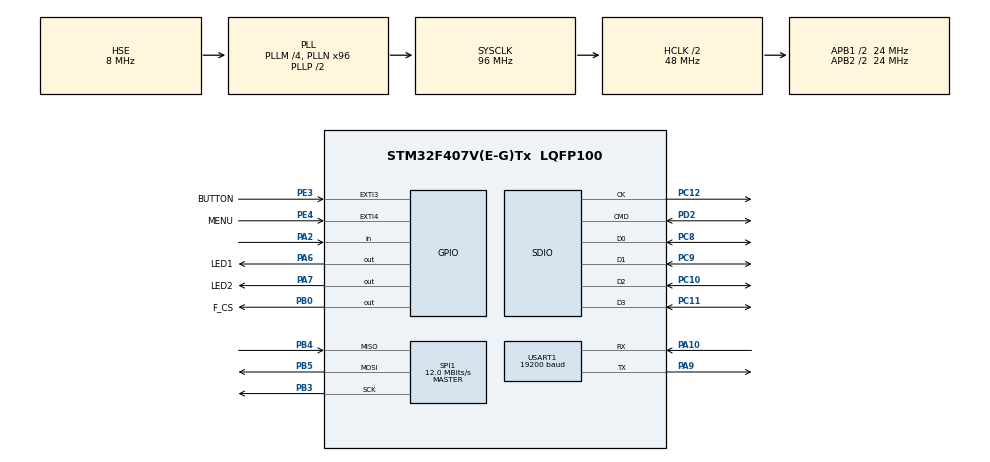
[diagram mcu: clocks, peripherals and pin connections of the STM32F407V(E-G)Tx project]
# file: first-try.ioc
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Dma.Request0=SPI1_RX
Dma.Request1=SPI1_TX
Dma.Request2=SDIO_RX
Dma.Request3=SDIO_TX
Dma.SDIO_RX.2.Direction=DMA_PERIPH_TO_MEMORY
Dma.SDIO_RX.2.FIFOMode=DMA_FIFOMODE_ENABLE
Dma.SDIO_RX.2.FIFOThreshold=DMA_FIFO_THRESHOLD_FULL
Dma.SDIO_RX.2.Instance=DMA2_Stream6
Dma.SDIO_RX.2.MemBurst=DMA_MBURST_INC4
Dma.SDIO_RX.2.MemDataAlignment=DMA_MDATAALIGN_WORD
Dma.SDIO_RX.2.MemInc=DMA_MINC_ENABLE
Dma.SDIO_RX.2.Mode=DMA_PFCTRL
Dma.SDIO_RX.2.PeriphBurst=DMA_PBURST_INC4
Dma.SDIO_RX.2.PeriphDataAlignment=DMA_PDATAALIGN_WORD
Dma.SDIO_RX.2.PeriphInc=DMA_PINC_DISABLE
Dma.SDIO_RX.2.Priority=DMA_PRIORITY_LOW
Dma.SDIO_TX.3.Direction=DMA_MEMORY_TO_PERIPH
Dma.SDIO_TX.3.FIFOMode=DMA_FIFOMODE_ENABLE
Dma.SDIO_TX.3.FIFOThreshold=DMA_FIFO_THRESHOLD_FULL
Dma.SDIO_TX.3.Instance=DMA2_Stream3
Dma.SDIO_TX.3.MemBurst=DMA_MBURST_INC4
Dma.SDIO_TX.3.MemDataAlignment=DMA_MDATAALIGN_WORD
Dma.SDIO_TX.3.MemInc=DMA_MINC_ENABLE
Dma.SDIO_TX.3.Mode=DMA_PFCTRL
Dma.SDIO_TX.3.PeriphBurst=DMA_PBURST_INC4
Dma.SDIO_TX.3.PeriphDataAlignment=DMA_PDATAALIGN_WORD
Dma.SDIO_TX.3.PeriphInc=DMA_PINC_DISABLE
Dma.SDIO_TX.3.Priority=DMA_PRIORITY_LOW
Dma.SPI1_RX.0.Direction=DMA_PERIPH_TO_MEMORY
Dma.SPI1_RX.0.FIFOMode=DMA_FIFOMODE_DISABLE
Dma.SPI1_RX.0.Instance=DMA2_Stream0
Dma.SPI1_RX.0.MemDataAlignment=DMA_MDATAALIGN_BYTE
Dma.SPI1_RX.0.MemInc=DMA_MINC_ENABLE
Dma.SPI1_RX.0.Mode=DMA_NORMAL
Dma.SPI1_RX.0.PeriphDataAlignment=DMA_PDATAALIGN_BYTE
Dma.SPI1_RX.0.PeriphInc=DMA_PINC_DISABLE
Dma.SPI1_RX.0.Priority=DMA_PRIORITY_LOW
Dma.SPI1_TX.1.Direction=DMA_MEMORY_TO_PERIPH
Dma.SPI1_TX.1.FIFOMode=DMA_FIFOMODE_DISABLE
Dma.SPI1_TX.1.Instance=DMA2_Stream5
Dma.SPI1_TX.1.MemDataAlignment=DMA_MDATAALIGN_BYTE
Dma.SPI1_TX.1.MemInc=DMA_MINC_ENABLE
Dma.SPI1_TX.1.Mode=DMA_NORMAL
Dma.SPI1_TX.1.PeriphDataAlignment=DMA_PDATAALIGN_BYTE
Dma.SPI1_TX.1.PeriphInc=DMA_PINC_DISABLE
Dma.SPI1_TX.1.Priority=DMA_PRIORITY_LOW
FATFS.BSP.number=1
FATFS.USE_DMA_CODE_SD=1
FATFS0.BSP.STBoard=false
FATFS0.BSP.api=Unknown
FATFS0.BSP.instance=PA2
FATFS0.BSP.ip=GPIO
FATFS0.BSP.mode=Input
FATFS0.BSP.name=Detect_SDIO
FATFS0.BSP.solution=PA2
Mcu.Family=STM32F4
Mcu.Name=STM32F407V(E-G)Tx
Mcu.Package=LQFP100
NVIC.DMA2_Stream0_IRQn=true\:0\:0\:false\:false\:true\:false\:true\:true
NVIC.DMA2_Stream3_IRQn=true\:0\:0\:false\:false\:true\:false\:true\:true
NVIC.DMA2_Stream5_IRQn=true\:0\:0\:false\:false\:true\:false\:true\:true
NVIC.DMA2_Stream6_IRQn=true\:0\:0\:false\:false\:true\:false\:true\:true
NVIC.EXTI3_IRQn=true\:0\:0\:false\:false\:true\:true\:true\:true
NVIC.EXTI4_IRQn=true\:0\:0\:false\:false\:true\:true\:true\:true
NVIC.PriorityGroup=NVIC_PRIORITYGROUP_4
NVIC.SDIO_IRQn=true\:0\:0\:false\:false\:true\:true\:true\:true
NVIC.TIM1_UP_TIM10_IRQn=true\:0\:0\:false\:false\:true\:true\:true\:true
NVIC.USART1_IRQn=true\:0\:0\:false\:false\:true\:true\:true\:true
PA10.Mode=Asynchronous
PA10.Signal=USART1_RX
PA13.Mode=Serial_Wire
PA13.Signal=SYS_JTMS-SWDIO
PA14.Mode=Serial_Wire
PA14.Signal=SYS_JTCK-SWCLK
PA2.GPIO_PuPd=GPIO_PULLDOWN
PA2.Signal=GPIO_Input
PA6.GPIO_Label=LED1
PA6.Signal=GPIO_Output
PA7.GPIO_Label=LED2
PA7.Signal=GPIO_Output
PA9.Mode=Asynchronous
PA9.Signal=USART1_TX
PB0.GPIO_Label=F_CS
PB0.GPIO_PuPd=GPIO_NOPULL
PB0.Signal=GPIO_Output
PB3.Mode=Full_Duplex_Master
PB3.Signal=SPI1_SCK
PB4.Mode=Full_Duplex_Master
PB4.Signal=SPI1_MISO
PB5.Mode=Full_Duplex_Master
PB5.Signal=SPI1_MOSI
PC10.Mode=SD_4_bits_Wide_bus
PC10.Signal=SDIO_D2
PC11.Mode=SD_4_bits_Wide_bus
PC11.Signal=SDIO_D3
PC12.Mode=SD_4_bits_Wide_bus
PC12.Signal=SDIO_CK
PC14-OSC32_IN.Mode=LSE-External-Oscillator
PC14-OSC32_IN.Signal=RCC_OSC32_IN
PC15-OSC32_OUT.Mode=LSE-External-Oscillator
PC15-OSC32_OUT.Signal=RCC_OSC32_OUT
PC8.Mode=SD_4_bits_Wide_bus
PC8.Signal=SDIO_D0
PC9.GPIO_PuPd=GPIO_PULLUP
PC9.Mode=SD_4_bits_Wide_bus
PC9.Signal=SDIO_D1
PD2.Mode=SD_4_bits_Wide_bus
PD2.Signal=SDIO_CMD
PE3.GPIO_Label=BUTTON
PE3.GPIO_ModeDefaultEXTI=GPIO_MODE_IT_FALLING
PE3.GPIO_PuPd=GPIO_PULLUP
PE3.Signal=GPXTI3
PE4.GPIO_Label=MENU
PE4.GPIO_PuPd=GPIO_PULLUP
PE4.Signal=GPXTI4
PH0-OSC_IN.Mode=HSE-External-Oscillator
PH0-OSC_IN.Signal=RCC_OSC_IN
PH1-OSC_OUT.Mode=HSE-External-Oscillator
PH1-OSC_OUT.Signal=RCC_OSC_OUT
ProjectManager.HeapSize=0x200
ProjectManager.StackSize=0x400
ProjectManager.TargetToolchain=STM32CubeIDE
RCC.48MHZClocksFreq_Value=48000000
RCC.AHBCLKDivider=RCC_SYSCLK_DIV2
RCC.AHBFreq_Value=48000000
RCC.APB1CLKDivider=RCC_HCLK_DIV2
RCC.APB1Freq_Value=24000000
RCC.APB1TimFreq_Value=48000000
RCC.APB2CLKDivider=RCC_HCLK_DIV2
RCC.APB2Freq_Value=24000000
RCC.APB2TimFreq_Value=48000000
RCC.CortexFreq_Value=48000000
RCC.HCLKFreq_Value=48000000
RCC.HSE_VALUE=8000000
RCC.HSI_VALUE=16000000
RCC.PLLM=4
RCC.PLLN=96
RCC.PLLSourceVirtual=RCC_PLLSOURCE_HSE
RCC.RCC_RTC_Clock_Source=RCC_RTCCLKSOURCE_LSE
RCC.RCC_RTC_Clock_SourceVirtual=RCC_RTCCLKSOURCE_LSE
RCC.SYSCLKFreq_VALUE=96000000
RCC.SYSCLKSource=RCC_SYSCLKSOURCE_PLLCLK
RCC.VCOOutputFreq_Value=192000000
RTC.Date=19
RTC.Hours=16
RTC.Minutes=49
RTC.Month=RTC_MONTH_FEBRUARY
RTC.WeekDay=RTC_WEEKDAY_SUNDAY
RTC.Year=23
SDIO.ClockDiv=255
SPI1.CalculateBaudRate=12.0 MBits/s
SPI1.Direction=SPI_DIRECTION_2LINES
SPI1.Mode=SPI_MODE_MASTER
SPI1.VirtualType=VM_MASTER
TIM1.Period=5000
TIM1.Prescaler=100
USART1.BaudRate=19200
USART1.VirtualMode=VM_ASYNC
VP_FATFS_VS_SDIO.Mode=SDIO
VP_RTC_VS_RTC_Activate.Mode=RTC_Enabled
VP_RTC_VS_RTC_Calendar.Mode=RTC_Calendar
VP_TIM1_VS_ClockSourceINT.Mode=Internal
board=custom

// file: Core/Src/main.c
/* USER CODE BEGIN Header */
/**
 ******************************************************************************
 * @file           : main.c
 * @brief          : Main program body
 ******************************************************************************
 * @attention
 *
 * Copyright (c) 2023 STMicroelectronics.
 * All rights reserved.
 *
 * This software is licensed under terms that can be found in the LICENSE file
 * in the root directory of this software component.
 * If no LICENSE file comes with this software, it is provided AS-IS.
 *
 ******************************************************************************
 */
/* USER CODE END Header */
#include "main.h"
#include "fatfs.h"

/* USER CODE BEGIN Includes */
#include <stdio.h>
#include <string.h>
#include <stdlib.h>
#include <time.h>
/* USER CODE END Includes */

RTC_HandleTypeDef hrtc;

SD_HandleTypeDef hsd;
DMA_HandleTypeDef hdma_sdio_rx;
DMA_HandleTypeDef hdma_sdio_tx;

SPI_HandleTypeDef hspi1;
DMA_HandleTypeDef hdma_spi1_rx;
DMA_HandleTypeDef hdma_spi1_tx;

TIM_HandleTypeDef htim1;

UART_HandleTypeDef huart1;

/* USER CODE BEGIN PV */
uint8_t Rx_data[1];

uint32_t read = 0;
uint32_t command = 0;

RTC_TimeTypeDef sTime = {0};
RTC_DateTypeDef sDate = {0};

/* USER CODE END PV */

void SystemClock_Config(void);
static void MX_GPIO_Init(void);
static void MX_DMA_Init(void);
static void MX_USART1_UART_Init(void);
static void MX_TIM1_Init(void);
static void MX_RTC_Init(void);
static void MX_SPI1_Init(void);
static void MX_SDIO_SD_Init(void);
/* USER CODE BEGIN PFP */
void read_from_address(uint32_t);
/* USER CODE END PFP */

int main(void)
{

  /* MCU Configuration--------------------------------------------------------*/

  /* Reset of all peripherals, Initializes the Flash interface and the Systick. */
  HAL_Init();

  /* Configure the system clock */
  SystemClock_Config();

  /* Initialize all configured peripherals */
  MX_GPIO_Init();
  MX_DMA_Init();
  MX_USART1_UART_Init();
  MX_TIM1_Init();
  MX_RTC_Init();
  MX_SPI1_Init();
  MX_SDIO_SD_Init();
  MX_FATFS_Init();
  /* USER CODE BEGIN 2 */

	int step = 10;

  /* USER CODE END 2 */

  /* Infinite loop */
  /* USER CODE BEGIN WHILE */

	HAL_UART_Receive_IT(&huart1, Rx_data, 1);
	while (1) {
		step += 10;
		HAL_GPIO_WritePin(LED1_GPIO_Port, LED1_Pin, 1);
		HAL_GPIO_WritePin(LED2_GPIO_Port, LED2_Pin, 0);
		HAL_Delay(100 + step % 100);
		HAL_GPIO_WritePin(LED1_GPIO_Port, LED1_Pin, 0);
		HAL_GPIO_WritePin(LED2_GPIO_Port, LED2_Pin, 1);
		HAL_Delay(100 + step % 100);

		if (command == 1) {
			read_from_address(read * 4);
		} else if (command == 2) {
			HAL_RTC_GetTime(&hrtc, &sTime, RTC_FORMAT_BIN);
			HAL_RTC_GetDate(&hrtc, &sDate, RTC_FORMAT_BIN);
			char current_time_message_flash[100];
			sprintf(current_time_message_flash,
					"%s\tDate: %02d.%02d.%02d\tTime: %02d.%02d.%02d\r\n",
					"log event", sDate.Date, sDate.Month, sDate.Year,
					sTime.Hours, sTime.Minutes, sTime.Seconds);
			if (f_mount(&SDFatFS, SDPath, 0) == FR_OK) {
				if (f_open(&SDFile, "readme.txt", FA_CREATE_ALWAYS | FA_WRITE)
						== FR_OK) {
					uint32_t read_bytes = 0;
					if (f_write(&SDFile, current_time_message_flash,
							strlen(current_time_message_flash), &read_bytes)
							== FR_OK) {
						f_close(&SDFile);
					}
				}
			}
			command = 9;
		}
    /* USER CODE END WHILE */

	}
}

void SystemClock_Config(void)
{
  RCC_OscInitTypeDef RCC_OscInitStruct = {0};
  RCC_ClkInitTypeDef RCC_ClkInitStruct = {0};

  /** Configure the main internal regulator output voltage
  */
  __HAL_RCC_PWR_CLK_ENABLE();
  __HAL_PWR_VOLTAGESCALING_CONFIG(PWR_REGULATOR_VOLTAGE_SCALE1);

  /** Initializes the RCC Oscillators according to the specified parameters
  * in the RCC_OscInitTypeDef structure.
  */
  RCC_OscInitStruct.OscillatorType = RCC_OSCILLATORTYPE_HSE|RCC_OSCILLATORTYPE_LSE;
  RCC_OscInitStruct.HSEState = RCC_HSE_ON;
  RCC_OscInitStruct.LSEState = RCC_LSE_ON;
  RCC_OscInitStruct.PLL.PLLState = RCC_PLL_ON;
  RCC_OscInitStruct.PLL.PLLSource = RCC_PLLSOURCE_HSE;
  RCC_OscInitStruct.PLL.PLLM = 4;
  RCC_OscInitStruct.PLL.PLLN = 96;
  RCC_OscInitStruct.PLL.PLLP = RCC_PLLP_DIV2;
  RCC_OscInitStruct.PLL.PLLQ = 4;
  if (HAL_RCC_OscConfig(&RCC_OscInitStruct) != HAL_OK)
  {
    Error_Handler();
  }

  /** Initializes the CPU, AHB and APB buses clocks
  */
  RCC_ClkInitStruct.ClockType = RCC_CLOCKTYPE_HCLK|RCC_CLOCKTYPE_SYSCLK
                              |RCC_CLOCKTYPE_PCLK1|RCC_CLOCKTYPE_PCLK2;
  RCC_ClkInitStruct.SYSCLKSource = RCC_SYSCLKSOURCE_PLLCLK;
  RCC_ClkInitStruct.AHBCLKDivider = RCC_SYSCLK_DIV2;
  RCC_ClkInitStruct.APB1CLKDivider = RCC_HCLK_DIV2;
  RCC_ClkInitStruct.APB2CLKDivider = RCC_HCLK_DIV2;

  if (HAL_RCC_ClockConfig(&RCC_ClkInitStruct, FLASH_LATENCY_1) != HAL_OK)
  {
    Error_Handler();
  }
}

static void MX_RTC_Init(void)
{

  RTC_TimeTypeDef sTime = {0};
  RTC_DateTypeDef sDate = {0};

  /** Initialize RTC Only
  */
  hrtc.Instance = RTC;
  hrtc.Init.HourFormat = RTC_HOURFORMAT_24;
  hrtc.Init.AsynchPrediv = 127;
  hrtc.Init.SynchPrediv = 255;
  hrtc.Init.OutPut = RTC_OUTPUT_DISABLE;
  hrtc.Init.OutPutPolarity = RTC_OUTPUT_POLARITY_HIGH;
  hrtc.Init.OutPutType = RTC_OUTPUT_TYPE_OPENDRAIN;
  if (HAL_RTC_Init(&hrtc) != HAL_OK)
  {
    Error_Handler();
  }

  /* USER CODE BEGIN Check_RTC_BKUP */
	if (HAL_RTCEx_BKUPRead(&hrtc, RTC_BKP_DR0) == 0xcafe) {
		return;
	} else {
		HAL_RTCEx_BKUPWrite(&hrtc, RTC_BKP_DR0, 0xcafe);
	}
  /* USER CODE END Check_RTC_BKUP */

  /** Initialize RTC and set the Time and Date
  */
  sTime.Hours = 0x16;
  sTime.Minutes = 0x49;
  sTime.Seconds = 0x0;
  sTime.DayLightSaving = RTC_DAYLIGHTSAVING_NONE;
  sTime.StoreOperation = RTC_STOREOPERATION_RESET;
  if (HAL_RTC_SetTime(&hrtc, &sTime, RTC_FORMAT_BCD) != HAL_OK)
  {
    Error_Handler();
  }
  sDate.WeekDay = RTC_WEEKDAY_SUNDAY;
  sDate.Month = RTC_MONTH_FEBRUARY;
  sDate.Date = 0x19;
  sDate.Year = 0x23;

  if (HAL_RTC_SetDate(&hrtc, &sDate, RTC_FORMAT_BCD) != HAL_OK)
  {
    Error_Handler();
  }

}

static void MX_SDIO_SD_Init(void)
{

  hsd.Instance = SDIO;
  hsd.Init.ClockEdge = SDIO_CLOCK_EDGE_RISING;
  hsd.Init.ClockBypass = SDIO_CLOCK_BYPASS_DISABLE;
  hsd.Init.ClockPowerSave = SDIO_CLOCK_POWER_SAVE_DISABLE;
  hsd.Init.BusWide = SDIO_BUS_WIDE_1B;
  hsd.Init.HardwareFlowControl = SDIO_HARDWARE_FLOW_CONTROL_DISABLE;
  hsd.Init.ClockDiv = 255;

}

static void MX_SPI1_Init(void)
{

  /* SPI1 parameter configuration*/
  hspi1.Instance = SPI1;
  hspi1.Init.Mode = SPI_MODE_MASTER;
  hspi1.Init.Direction = SPI_DIRECTION_2LINES;
  hspi1.Init.DataSize = SPI_DATASIZE_8BIT;
  hspi1.Init.CLKPolarity = SPI_POLARITY_LOW;
  hspi1.Init.CLKPhase = SPI_PHASE_1EDGE;
  hspi1.Init.NSS = SPI_NSS_SOFT;
  hspi1.Init.BaudRatePrescaler = SPI_BAUDRATEPRESCALER_2;
  hspi1.Init.FirstBit = SPI_FIRSTBIT_MSB;
  hspi1.Init.TIMode = SPI_TIMODE_DISABLE;
  hspi1.Init.CRCCalculation = SPI_CRCCALCULATION_DISABLE;
  hspi1.Init.CRCPolynomial = 10;
  if (HAL_SPI_Init(&hspi1) != HAL_OK)
  {
    Error_Handler();
  }

}

static void MX_TIM1_Init(void)
{

  TIM_ClockConfigTypeDef sClockSourceConfig = {0};
  TIM_MasterConfigTypeDef sMasterConfig = {0};

  htim1.Instance = TIM1;
  htim1.Init.Prescaler = 100;
  htim1.Init.CounterMode = TIM_COUNTERMODE_UP;
  htim1.Init.Period = 5000;
  htim1.Init.ClockDivision = TIM_CLOCKDIVISION_DIV1;
  htim1.Init.RepetitionCounter = 0;
  htim1.Init.AutoReloadPreload = TIM_AUTORELOAD_PRELOAD_DISABLE;
  if (HAL_TIM_Base_Init(&htim1) != HAL_OK)
  {
    Error_Handler();
  }
  sClockSourceConfig.ClockSource = TIM_CLOCKSOURCE_INTERNAL;
  if (HAL_TIM_ConfigClockSource(&htim1, &sClockSourceConfig) != HAL_OK)
  {
    Error_Handler();
  }
  sMasterConfig.MasterOutputTrigger = TIM_TRGO_RESET;
  sMasterConfig.MasterSlaveMode = TIM_MASTERSLAVEMODE_DISABLE;
  if (HAL_TIMEx_MasterConfigSynchronization(&htim1, &sMasterConfig) != HAL_OK)
  {
    Error_Handler();
  }

}

static void MX_USART1_UART_Init(void)
{

  huart1.Instance = USART1;
  huart1.Init.BaudRate = 19200;
  huart1.Init.WordLength = UART_WORDLENGTH_8B;
  huart1.Init.StopBits = UART_STOPBITS_1;
  huart1.Init.Parity = UART_PARITY_NONE;
  huart1.Init.Mode = UART_MODE_TX_RX;
  huart1.Init.HwFlowCtl = UART_HWCONTROL_NONE;
  huart1.Init.OverSampling = UART_OVERSAMPLING_16;
  if (HAL_UART_Init(&huart1) != HAL_OK)
  {
    Error_Handler();
  }

}

static void MX_DMA_Init(void)
{

  /* DMA controller clock enable */
  __HAL_RCC_DMA2_CLK_ENABLE();

  /* DMA interrupt init */
  /* DMA2_Stream0_IRQn interrupt configuration */
  HAL_NVIC_SetPriority(DMA2_Stream0_IRQn, 0, 0);
  HAL_NVIC_EnableIRQ(DMA2_Stream0_IRQn);
  /* DMA2_Stream3_IRQn interrupt configuration */
  HAL_NVIC_SetPriority(DMA2_Stream3_IRQn, 0, 0);
  HAL_NVIC_EnableIRQ(DMA2_Stream3_IRQn);
  /* DMA2_Stream5_IRQn interrupt configuration */
  HAL_NVIC_SetPriority(DMA2_Stream5_IRQn, 0, 0);
  HAL_NVIC_EnableIRQ(DMA2_Stream5_IRQn);
  /* DMA2_Stream6_IRQn interrupt configuration */
  HAL_NVIC_SetPriority(DMA2_Stream6_IRQn, 0, 0);
  HAL_NVIC_EnableIRQ(DMA2_Stream6_IRQn);

}

static void MX_GPIO_Init(void)
{
  GPIO_InitTypeDef GPIO_InitStruct = {0};

  /* GPIO Ports Clock Enable */
  __HAL_RCC_GPIOE_CLK_ENABLE();
  __HAL_RCC_GPIOC_CLK_ENABLE();
  __HAL_RCC_GPIOH_CLK_ENABLE();
  __HAL_RCC_GPIOA_CLK_ENABLE();
  __HAL_RCC_GPIOB_CLK_ENABLE();
  __HAL_RCC_GPIOD_CLK_ENABLE();

  /*Configure GPIO pin Output Level */
  HAL_GPIO_WritePin(GPIOA, LED1_Pin|LED2_Pin, GPIO_PIN_RESET);

  /*Configure GPIO pin Output Level */
  HAL_GPIO_WritePin(F_CS_GPIO_Port, F_CS_Pin, GPIO_PIN_RESET);

  /*Configure GPIO pin : BUTTON_Pin */
  GPIO_InitStruct.Pin = BUTTON_Pin;
  GPIO_InitStruct.Mode = GPIO_MODE_IT_FALLING;
  GPIO_InitStruct.Pull = GPIO_PULLUP;
  HAL_GPIO_Init(BUTTON_GPIO_Port, &GPIO_InitStruct);

  /*Configure GPIO pin : MENU_Pin */
  GPIO_InitStruct.Pin = MENU_Pin;
  GPIO_InitStruct.Mode = GPIO_MODE_IT_RISING;
  GPIO_InitStruct.Pull = GPIO_PULLUP;
  HAL_GPIO_Init(MENU_GPIO_Port, &GPIO_InitStruct);

  /*Configure GPIO pin : PA2 */
  GPIO_InitStruct.Pin = GPIO_PIN_2;
  GPIO_InitStruct.Mode = GPIO_MODE_INPUT;
  GPIO_InitStruct.Pull = GPIO_PULLDOWN;
  HAL_GPIO_Init(GPIOA, &GPIO_InitStruct);

  /*Configure GPIO pins : LED1_Pin LED2_Pin */
  GPIO_InitStruct.Pin = LED1_Pin|LED2_Pin;
  GPIO_InitStruct.Mode = GPIO_MODE_OUTPUT_PP;
  GPIO_InitStruct.Pull = GPIO_NOPULL;
  GPIO_InitStruct.Speed = GPIO_SPEED_FREQ_LOW;
  HAL_GPIO_Init(GPIOA, &GPIO_InitStruct);

  /*Configure GPIO pin : F_CS_Pin */
  GPIO_InitStruct.Pin = F_CS_Pin;
  GPIO_InitStruct.Mode = GPIO_MODE_OUTPUT_PP;
  GPIO_InitStruct.Pull = GPIO_NOPULL;
  GPIO_InitStruct.Speed = GPIO_SPEED_FREQ_LOW;
  HAL_GPIO_Init(F_CS_GPIO_Port, &GPIO_InitStruct);

  /* EXTI interrupt init*/
  HAL_NVIC_SetPriority(EXTI3_IRQn, 0, 0);
  HAL_NVIC_EnableIRQ(EXTI3_IRQn);

  HAL_NVIC_SetPriority(EXTI4_IRQn, 0, 0);
  HAL_NVIC_EnableIRQ(EXTI4_IRQn);

}

/* USER CODE BEGIN 4 */
long get_epoch_time(){
    RTC_DateTypeDef rtcDate;
    RTC_TimeTypeDef rtcTime;
    HAL_RTC_GetTime(&hrtc, &rtcTime, RTC_FORMAT_BIN);
    HAL_RTC_GetDate(&hrtc, &rtcDate, RTC_FORMAT_BIN);
    uint8_t hh = rtcTime.Hours;
    uint8_t mm = rtcTime.Minutes;
    uint8_t ss = rtcTime.Seconds;
    uint8_t d = rtcDate.Date;
    uint8_t m = rtcDate.Month;
    uint16_t y = rtcDate.Year;
    uint16_t yr = (uint16_t)(y+2000-1900);
    time_t currentTime = {0};
    struct tm tim = {0};
    tim.tm_year = yr;
    tim.tm_mon = m - 1;
    tim.tm_mday = d;
    tim.tm_hour = hh;
    tim.tm_min = mm;
    tim.tm_sec = ss;
    currentTime = mktime(&tim);
    return currentTime;
}

void flash_erase_chip() {
	uint8_t Write_Enable = 0x06;
	uint8_t Erase_Chip = 0xC7;

	HAL_GPIO_WritePin(F_CS_GPIO_Port, F_CS_Pin, RESET);     // CS to low
	HAL_SPI_Transmit(&hspi1, &Write_Enable, 1, 1000); // Write Enable Command
	HAL_GPIO_WritePin(F_CS_GPIO_Port, F_CS_Pin, SET);       // CS to high

	HAL_GPIO_WritePin(F_CS_GPIO_Port, F_CS_Pin, RESET);     // CS to low
	HAL_SPI_Transmit(&hspi1, &Erase_Chip, 1, 1000);   // Erase Chip Command
	HAL_GPIO_WritePin(F_CS_GPIO_Port, F_CS_Pin, SET);       // CS to high

	HAL_RTCEx_BKUPWrite(&hrtc, RTC_BKP_DR1, 0);
}

char temp_time [20];
uint8_t send_address[3];
#define buf_size 100
long temp_date[buf_size];
uint32_t items;

uint32_t to_read;

void flash_read_data() {
	read = 0;
	to_read = 0;
	command = 1 ;
	uint32_t address = HAL_RTCEx_BKUPRead(&hrtc, RTC_BKP_DR1);
	items = address / 4;
	sprintf(temp_time, "logged events: %d\r\n", items);
	HAL_UART_Transmit(&huart1, (uint8_t*) temp_time, strlen(temp_time), 10);
}

void read_from_address(uint32_t start_address) {
	if (items - read > buf_size) {
		to_read = buf_size;
	} else {
		to_read = items - read;
	}
	if (to_read > 0) {
		uint8_t Read_Data = 0x03;
		HAL_GPIO_WritePin(F_CS_GPIO_Port, F_CS_Pin, RESET);
		HAL_SPI_Transmit(&hspi1, &Read_Data, 1, 1000);  // Read Command

		send_address[2] = start_address;
		send_address[1] = start_address >> 8;
		send_address[0] = start_address >> 16;

		HAL_SPI_Transmit(&hspi1, send_address, 3, 1000);    // Write Address
		if (HAL_SPI_Receive_DMA(&hspi1, temp_date, to_read * 4) != HAL_OK) {
			HAL_GPIO_WritePin(F_CS_GPIO_Port, F_CS_Pin, SET);
			Error_Handler();
			command = 0;
		}
	} else {
		command = 0;
	}
}

void HAL_SPI_RxCpltCallback(SPI_HandleTypeDef *hspi) {
	HAL_GPIO_WritePin(F_CS_GPIO_Port, F_CS_Pin, SET);
	for (int i = 0; i < to_read; ++i) {
		sprintf(temp_time, "%d\r\n", temp_date[i]);
		HAL_UART_Transmit(&huart1, (uint8_t*) temp_time, strlen(temp_time), 10);
	}
	read += to_read;
}

void flash_write_data() {
	uint8_t Write_Enable = 0x06;
	uint8_t Page_Program = 0x02;
	uint32_t address = HAL_RTCEx_BKUPRead(&hrtc, RTC_BKP_DR1);

	HAL_GPIO_WritePin(F_CS_GPIO_Port, F_CS_Pin, RESET);
	HAL_SPI_Transmit(&hspi1, &Write_Enable, 1, 1000); // Write Enable Command
	HAL_GPIO_WritePin(F_CS_GPIO_Port, F_CS_Pin, SET);

	HAL_GPIO_WritePin(F_CS_GPIO_Port, F_CS_Pin, RESET);
	HAL_SPI_Transmit(&hspi1, &Page_Program, 1, 1000); // Page Program Command

	send_address[2] = address;
	send_address[1] = address >> 8;
	send_address[0] = address >> 16;

	HAL_SPI_Transmit(&hspi1, &send_address, 3, 1000);
	long temp_time = get_epoch_time();
	HAL_SPI_Transmit(&hspi1, &temp_time, 4, 1000);
	HAL_GPIO_WritePin(F_CS_GPIO_Port, F_CS_Pin, SET);
	HAL_RTCEx_BKUPWrite(&hrtc, RTC_BKP_DR1, address + 4);
}

int state = 1;

int menu_state = 0;

#define LINEMAX 200 // Maximal allowed/expected line length
volatile char line_buffer[LINEMAX + 1]; // Holding buffer with space for terminating NUL
volatile int line_valid = 0;
static char rx_buffer[LINEMAX];   // Local holding buffer to build line
static int rx_index = 0;

void invalidate_buffer() {
	line_valid = 0;
	rx_index = 0;
}
char menu[] =
		"Options:\r\n1. Show current time\r\n2. Change date/time\r\n3. Log event\r\n4. Read all\r\n5. Write to SD card\r\n6. Erase all from Flash\r\n";

void display_main_menu() {
	HAL_UART_Transmit(&huart1, (uint8_t*) menu, strlen(menu), 10);
	menu_state = 0;
	invalidate_buffer();
}

char message[100];

void HAL_GPIO_EXTI_Callback(uint16_t GPIO_Pin) {
	if (GPIO_Pin == BUTTON_Pin) {
		if (state) {
			state = 0;
			HAL_TIM_Base_Start_IT(&htim1);

			HAL_RTC_GetTime(&hrtc, &sTime, RTC_FORMAT_BIN);
			HAL_RTC_GetDate(&hrtc, &sDate, RTC_FORMAT_BIN);

			sprintf(message,
					"%s\tDate: %02d.%02d.%02d\tTime: %02d.%02d.%02d (%d)\r\n",
					"button pressed (event logged)", sDate.Date, sDate.Month, sDate.Year,
					sTime.Hours, sTime.Minutes, sTime.Seconds, get_epoch_time());

			flash_write_data();

			HAL_UART_Transmit(&huart1, (uint8_t*) message, strlen(message), 10); // Sending in normal mode
		}
	} else if (GPIO_Pin == MENU_Pin) {
		display_main_menu();
	}
}

uint8_t deactivate_message[] = "button released\r\n";

void HAL_TIM_PeriodElapsedCallback(TIM_HandleTypeDef *htim) {
	if (HAL_GPIO_ReadPin(BUTTON_GPIO_Port, BUTTON_Pin) == GPIO_PIN_SET) {
		state = 1;
		HAL_TIM_Base_Stop_IT(&htim1);
		HAL_UART_Transmit(&huart1, deactivate_message, strlen(deactivate_message), 10);
	}
}

int change_time_menu_option = 0;
char change_time_menu[] = "Change:\r\n1. Day\r\n2. Month\r\n3. Year\r\n4. Hour\r\n5. Minute\r\n6. Seconds\r\n7. Exit\r\n";
char unkown_option[] = "unknown option\r\n";
char enter_new_value [] = "Please enter new value: ";
char current_time_message[100];
char current_time_message_flash[100];
void display_current_time() {
	HAL_RTC_GetTime(&hrtc, &sTime, RTC_FORMAT_BIN);
	HAL_RTC_GetDate(&hrtc, &sDate, RTC_FORMAT_BIN);
	sprintf(current_time_message,
			"%s\tDate: %02d.%02d.%02d\tTime: %02d.%02d.%02d\r\n",
			"current date/time", sDate.Date, sDate.Month, sDate.Year,
			sTime.Hours, sTime.Minutes, sTime.Seconds);
	HAL_UART_Transmit(&huart1, (uint8_t*) current_time_message,
			strlen(current_time_message), 10);
}

void display_change_time_menu() {
	HAL_UART_Transmit(&huart1, (uint8_t*) change_time_menu,
			strlen(change_time_menu), 10);
	menu_state = 1;
}

void update_date_time(int selected_option, int value) {
	HAL_RTC_GetTime(&hrtc, &sTime, RTC_FORMAT_BIN);
	HAL_RTC_GetDate(&hrtc, &sDate, RTC_FORMAT_BIN);

	switch (selected_option) {
	case 1:
		sDate.Date = value;
		break;
	case 2:
		sDate.Month = value;
		break;
	case 3:
		sDate.Year = value;
		break;
	case 4:
		sTime.Hours = value;
		break;
	case 5:
		sTime.Minutes = value;
		break;
	case 6:
		sTime.Seconds = value;
		break;
	}
	if (selected_option == 1 || selected_option == 2 || selected_option == 3) {
		if (HAL_RTC_SetDate(&hrtc, &sDate, RTC_FORMAT_BIN) != HAL_OK) {
			Error_Handler();
		}
	} else if (selected_option == 4 || selected_option == 5
			|| selected_option == 6) {
		if (HAL_RTC_SetTime(&hrtc, &sTime, RTC_FORMAT_BIN) != HAL_OK) {
			Error_Handler();
		}
	}
}

void handle_received_char(char rx) {
	if ((rx == '\r') || (rx == '\n')) {
		if (rx_index != 0) {
			memcpy((void*) line_buffer, rx_buffer, rx_index); // Copy to static line buffer from dynamic receive buffer
			line_buffer[rx_index] = 0; // Add terminating NUL
			line_valid = 1; // flag new line valid for processing
			rx_index = 0; // Reset content pointer
		}
	} else {
		if ((rx == '$') || (rx_index == LINEMAX)) // If resync or overflows pull back to start
			rx_index = 0;
		rx_buffer[rx_index++] = rx; // Copy to buffer and increment
	}
}

unsigned char towrite [] = "checkme";
unsigned char toread [100];
void HAL_UART_RxCpltCallback(UART_HandleTypeDef *huart) {
	int selected_option = atoi((const char*) Rx_data);
	if (menu_state == 1) {
		switch (selected_option) {
		case 7:
			display_main_menu();
			HAL_UART_Receive_IT(&huart1, Rx_data, 1);
			break;
		default:
			change_time_menu_option = selected_option;
			HAL_UART_Transmit(&huart1, (uint8_t*) enter_new_value,
					strlen(enter_new_value), 10);
			HAL_UART_Receive_IT(&huart1, Rx_data, 1);
			menu_state = 2;
		}
		return;
	} else if (menu_state == 0) {
		switch (selected_option) {
		case 1:
			display_current_time();
			display_main_menu();
			HAL_UART_Receive_IT(&huart1, Rx_data, 1);
			return;
		case 2:
			display_change_time_menu();
			HAL_UART_Receive_IT(&huart1, Rx_data, 1);
			return;
		case 3:
			flash_write_data();

			HAL_RTC_GetTime(&hrtc, &sTime, RTC_FORMAT_BIN);
			HAL_RTC_GetDate(&hrtc, &sDate, RTC_FORMAT_BIN);

			sprintf(current_time_message_flash,
					"%s\tDate: %02d.%02d.%02d\tTime: %02d.%02d.%02d\r\n",
					"log event", sDate.Date, sDate.Month, sDate.Year, sTime.Hours,
					sTime.Minutes, sTime.Seconds);

			HAL_UART_Transmit(&huart1, (uint8_t*) current_time_message_flash, strlen(current_time_message_flash), 10);
			display_main_menu();
			HAL_UART_Receive_IT(&huart1, Rx_data, 1);
			return;
		case 4:
			flash_read_data();
			display_main_menu();
			HAL_UART_Receive_IT(&huart1, Rx_data, 1);
			return;
		case 5:
			command = 2;
			HAL_UART_Receive_IT(&huart1, Rx_data, 1);
			return;
		case 6:
			flash_erase_chip();
			display_main_menu();
			HAL_UART_Receive_IT(&huart1, Rx_data, 1);
			return;
		default:
			HAL_UART_Transmit(&huart1, (uint8_t*) unkown_option,
					strlen(unkown_option), 10);
			display_main_menu();
			HAL_UART_Receive_IT(&huart1, Rx_data, 1);
			return;
		}
	}
	handle_received_char((char) Rx_data[0]);
	if (line_valid) {
		HAL_UART_Transmit(&huart1, (uint8_t*) &"\r\n", 2, 10);
		selected_option = (int) atoi((const char*) line_buffer);
		if (menu_state == 2) {
			update_date_time(change_time_menu_option, selected_option);
			display_current_time();
			display_change_time_menu();
		}
		invalidate_buffer();
	} else {
		HAL_UART_Transmit(&huart1, (uint8_t*) Rx_data, strlen(Rx_data), 10);
	}
	HAL_UART_Receive_IT(&huart1, Rx_data, 1);
}

/* USER CODE END 4 */

void Error_Handler(void)
{
	__disable_irq();
	while (1) {
	}
}
